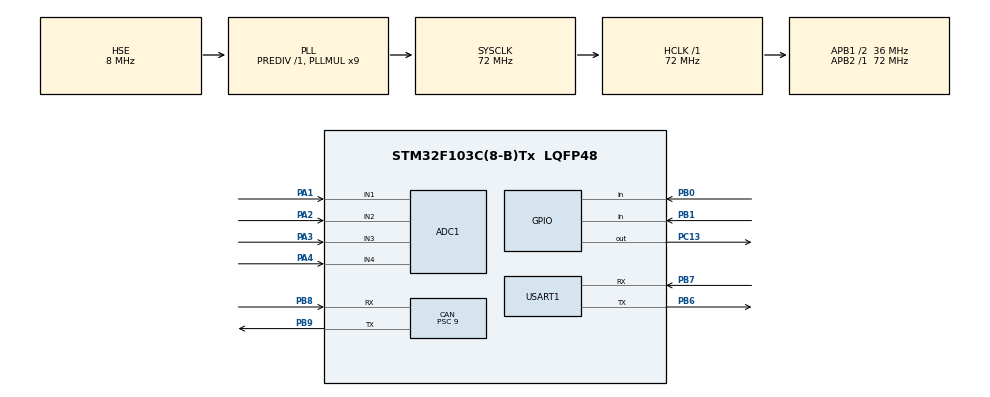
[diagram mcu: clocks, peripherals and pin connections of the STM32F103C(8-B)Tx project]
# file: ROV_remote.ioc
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ADC1.Channel-4\#ChannelRegularConversion=ADC_CHANNEL_1
ADC1.Channel-5\#ChannelRegularConversion=ADC_CHANNEL_2
ADC1.Channel-6\#ChannelRegularConversion=ADC_CHANNEL_3
ADC1.Channel-7\#ChannelRegularConversion=ADC_CHANNEL_4
ADC1.ContinuousConvMode=DISABLE
ADC1.DiscontinuousConvMode=DISABLE
ADC1.EnableRegularConversion=ENABLE
ADC1.InjNumberOfConversion=0
ADC1.NbrOfConversion=4
ADC1.NbrOfConversionFlag=1
ADC1.Rank-4\#ChannelRegularConversion=1
ADC1.Rank-5\#ChannelRegularConversion=2
ADC1.Rank-6\#ChannelRegularConversion=3
ADC1.Rank-7\#ChannelRegularConversion=4
ADC1.SamplingTime-4\#ChannelRegularConversion=ADC_SAMPLETIME_7CYCLES_5
ADC1.SamplingTime-5\#ChannelRegularConversion=ADC_SAMPLETIME_7CYCLES_5
ADC1.SamplingTime-6\#ChannelRegularConversion=ADC_SAMPLETIME_7CYCLES_5
ADC1.SamplingTime-7\#ChannelRegularConversion=ADC_SAMPLETIME_7CYCLES_5
ADC1.master=1
CAN.BS1=CAN_BS1_13TQ
CAN.BS2=CAN_BS2_2TQ
CAN.CalculateTimeBit=4000
CAN.CalculateTimeQuantum=250.0
CAN.Prescaler=9
Dma.ADC1.0.Direction=DMA_PERIPH_TO_MEMORY
Dma.ADC1.0.Instance=DMA1_Channel1
Dma.ADC1.0.MemDataAlignment=DMA_MDATAALIGN_HALFWORD
Dma.ADC1.0.MemInc=DMA_MINC_ENABLE
Dma.ADC1.0.Mode=DMA_CIRCULAR
Dma.ADC1.0.PeriphDataAlignment=DMA_PDATAALIGN_HALFWORD
Dma.ADC1.0.PeriphInc=DMA_PINC_DISABLE
Dma.ADC1.0.Priority=DMA_PRIORITY_MEDIUM
Dma.Request0=ADC1
Mcu.Family=STM32F1
Mcu.Name=STM32F103C(8-B)Tx
Mcu.Package=LQFP48
NVIC.DMA1_Channel1_IRQn=true\:0\:0\:false\:false\:true\:false\:true
NVIC.PriorityGroup=NVIC_PRIORITYGROUP_4
NVIC.USART1_IRQn=true\:0\:0\:false\:false\:true\:true\:true
NVIC.USB_HP_CAN1_TX_IRQn=true\:0\:0\:false\:false\:true\:true\:true
NVIC.USB_LP_CAN1_RX0_IRQn=true\:0\:0\:false\:false\:true\:true\:true
PA1.Signal=ADCx_IN1
PA13.Mode=Serial_Wire
PA13.Signal=SYS_JTMS-SWDIO
PA14.Mode=Serial_Wire
PA14.Signal=SYS_JTCK-SWCLK
PA2.Signal=ADCx_IN2
PA3.Signal=ADCx_IN3
PA4.Signal=ADCx_IN4
PB0.Signal=GPIO_Input
PB1.Signal=GPIO_Input
PB6.Mode=Asynchronous
PB6.Signal=USART1_TX
PB7.Mode=Asynchronous
PB7.Signal=USART1_RX
PB8.Mode=Master
PB8.Signal=CAN_RX
PB9.Mode=Master
PB9.Signal=CAN_TX
PC13-TAMPER-RTC.Signal=GPIO_Output
PC14-OSC32_IN.Mode=LSE-External-Oscillator
PC14-OSC32_IN.Signal=RCC_OSC32_IN
PC15-OSC32_OUT.Mode=LSE-External-Oscillator
PC15-OSC32_OUT.Signal=RCC_OSC32_OUT
PD0-OSC_IN.Mode=HSE-External-Oscillator
PD0-OSC_IN.Signal=RCC_OSC_IN
PD1-OSC_OUT.Mode=HSE-External-Oscillator
PD1-OSC_OUT.Signal=RCC_OSC_OUT
ProjectManager.HeapSize=0x200
ProjectManager.StackSize=0x400
ProjectManager.TargetToolchain=STM32CubeIDE
RCC.ADCPresc=RCC_ADCPCLK2_DIV6
RCC.AHBFreq_Value=72000000
RCC.APB1CLKDivider=RCC_HCLK_DIV2
RCC.APB1Freq_Value=36000000
RCC.APB1TimFreq_Value=72000000
RCC.APB2Freq_Value=72000000
RCC.APB2TimFreq_Value=72000000
RCC.HCLKFreq_Value=72000000
RCC.PLLMUL=RCC_PLL_MUL9
RCC.PLLSourceVirtual=RCC_PLLSOURCE_HSE
RCC.SYSCLKFreq_VALUE=72000000
RCC.SYSCLKSource=RCC_SYSCLKSOURCE_PLLCLK
RCC.USBFreq_Value=72000000
SH.ADCx_IN1.0=ADC1_IN1,IN1
SH.ADCx_IN2.0=ADC1_IN2,IN2
SH.ADCx_IN3.0=ADC1_IN3,IN3
SH.ADCx_IN4.0=ADC1_IN4,IN4
USART1.VirtualMode=VM_ASYNC
board=custom

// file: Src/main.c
/* USER CODE BEGIN Header */
/**
  ******************************************************************************
  * @file           : main.c
  * @brief          : Main program body
  ******************************************************************************
  * @attention
  *
  * <h2><center>&copy; Copyright (c) 2019 STMicroelectronics.
  * All rights reserved.</center></h2>
  *
  * This software component is licensed by ST under BSD 3-Clause license,
  * the "License"; You may not use this file except in compliance with the
  * License. You may obtain a copy of the License at:
  *                        opensource.org/licenses/BSD-3-Clause
  *
  ******************************************************************************
  */
/* USER CODE END Header */

#include "main.h"

/* USER CODE BEGIN Includes */

#define sabitleme_toleransi 50
#define hizBoleni 1
#define INTERVAL 3000

/* USER CODE END Includes */

ADC_HandleTypeDef hadc1;
DMA_HandleTypeDef hdma_adc1;

CAN_HandleTypeDef hcan;

UART_HandleTypeDef huart1;

/* USER CODE BEGIN PV */

typedef struct{

	uint8_t mod;
	uint8_t armco;
	uint16_t desired_angle;
	uint16_t valueJoyStick_X_1;
	uint16_t valueJoyStick_Y_1;
	uint16_t valueJoyStick_X_2;
	uint16_t valueJoyStick_Y_2;

}Master;

Master control = {0};

uint16_t adc_buffer[4];
CAN_FilterTypeDef sFilterConfig;
CAN_TxHeaderTypeDef TxHeader;
CAN_RxHeaderTypeDef RxHeader;
uint8_t TxData[8];//uint8_t TxData[8];
uint8_t RxData[8];//uint8_t RxData[8];
uint32_t TxMailbox;
uint8_t i=0;
char in[8];

uint32_t last_time;
uint16_t batt;

/* USER CODE END PV */

void SystemClock_Config(void);
static void MX_GPIO_Init(void);
static void MX_DMA_Init(void);
static void MX_ADC1_Init(void);
static void MX_CAN_Init(void);
static void MX_USART1_UART_Init(void);

/* USER CODE BEGIN 0 */
long map();
void uartPrintln();
void uartPrint();
int AutoMod();
int ManuelMod();
uint8_t createData(uint16_t bit16data);

/* USER CODE END 0 */

int main(void)
{

  /* MCU Configuration--------------------------------------------------------*/

  /* Reset of all peripherals, Initializes the Flash interface and the Systick. */
  HAL_Init();

  /* Configure the system clock */
  SystemClock_Config();

  /* Initialize all configured peripherals */
  MX_GPIO_Init();
  MX_DMA_Init();
  MX_ADC1_Init();
  MX_CAN_Init();
  MX_USART1_UART_Init();
  /* USER CODE BEGIN 2 */

  //__HAL_UART_ENABLE_IT(&huart1, UART_IT_RXNE);//eklendi

  sFilterConfig.FilterBank = 0;
  sFilterConfig.FilterMode = CAN_FILTERMODE_IDMASK;
  sFilterConfig.FilterScale = CAN_FILTERSCALE_32BIT;
  sFilterConfig.FilterIdHigh = 0x0000;
  sFilterConfig.FilterIdLow = 0x0000;
  sFilterConfig.FilterMaskIdHigh = 0x0000;
  sFilterConfig.FilterMaskIdLow = 0x0000;
  sFilterConfig.FilterFIFOAssignment = CAN_RX_FIFO0;
  sFilterConfig.FilterActivation = ENABLE;
  sFilterConfig.SlaveStartFilterBank = 14;
  if (HAL_CAN_ConfigFilter(&hcan, &sFilterConfig) != HAL_OK)
      {
          /* Filter configuration Error */
          Error_Handler();
      }

  if (HAL_CAN_Start(&hcan) != HAL_OK)
      {
          /* Start Error */
          Error_Handler();
      }

  if (HAL_CAN_ActivateNotification(&hcan, CAN_IT_RX_FIFO0_MSG_PENDING | CAN_IT_TX_MAILBOX_EMPTY) != HAL_OK)
      {
          /* Notification Error */
          Error_Handler();
      }

  TxHeader.StdId = 0x321;
  TxHeader.ExtId = 0x01;
  TxHeader.RTR = CAN_RTR_DATA;
  TxHeader.IDE = CAN_ID_STD;
  TxHeader.DLC = 8;
  TxHeader.TransmitGlobalTime = DISABLE;

  HAL_UART_Receive_IT(&huart1, in, 1);
  /* USER CODE END 2 */

  /* Infinite loop */
  while (1)
  {

    /* USER CODE BEGIN 3 */
	 char tx[64];
	 batt = RxData[0];
	 control.mod = 1;

	 if(HAL_GPIO_ReadPin(GPIOB, GPIO_PIN_1)){
		 AutoMod();
	 }else{
		 ManuelMod();
	 }

	 //AutoMod();

	 HAL_UART_Transmit(&huart1, (uint8_t*)tx, sprintf(tx, "X_1: %d Y_1: %d X_2: %d Y_2: %d angle: %d arm: %d mod: %d\n", control.valueJoyStick_X_1,control.valueJoyStick_Y_1,control.valueJoyStick_X_2,control.valueJoyStick_Y_2,control.desired_angle,control.armco,control.mod), 500);

	 TxData[0] = createData(control.valueJoyStick_X_1);
	 TxData[1] = createData(control.valueJoyStick_Y_1);
	 TxData[2] = createData(control.valueJoyStick_X_2);
	 TxData[3] = createData(control.valueJoyStick_Y_2);
	 TxData[4] = createData(control.desired_angle);
	 TxData[5] = control.armco;
	 TxData[6] = control.mod;

	 HAL_CAN_AddTxMessage(&hcan, &TxHeader, TxData, &TxMailbox);

/*
	 char tx[10];
	 //HAL_UART_Transmit(&huart1, (uint8_t*)tx, sprintf(tx, "Batt: %d\n", RxData[0]), 500);
	 HAL_UART_Transmit(&huart1, (uint8_t*)tx, 8, 500);
	 HAL_UART_Receive(&huart1, (uint8_t*)tx, 8, 1000);
	 //HAL_UART_Transmit(&huart1, (uint8_t*)tx, sprintf(tx, "X_1: %d Y_1: %d X_2: %d Y_2: %d\n", valueJoyStick_X_1,valueJoyStick_Y_1,valueJoyStick_X_2,valueJoyStick_Y_2), 500);
*/

  }
  /* USER CODE END 3 */
}

void SystemClock_Config(void)
{
  RCC_OscInitTypeDef RCC_OscInitStruct = {0};
  RCC_ClkInitTypeDef RCC_ClkInitStruct = {0};
  RCC_PeriphCLKInitTypeDef PeriphClkInit = {0};

  /** Initializes the CPU, AHB and APB busses clocks
  */
  RCC_OscInitStruct.OscillatorType = RCC_OSCILLATORTYPE_HSE;
  RCC_OscInitStruct.HSEState = RCC_HSE_ON;
  RCC_OscInitStruct.HSEPredivValue = RCC_HSE_PREDIV_DIV1;
  RCC_OscInitStruct.HSIState = RCC_HSI_ON;
  RCC_OscInitStruct.PLL.PLLState = RCC_PLL_ON;
  RCC_OscInitStruct.PLL.PLLSource = RCC_PLLSOURCE_HSE;
  RCC_OscInitStruct.PLL.PLLMUL = RCC_PLL_MUL9;
  if (HAL_RCC_OscConfig(&RCC_OscInitStruct) != HAL_OK)
  {
    Error_Handler();
  }
  /** Initializes the CPU, AHB and APB busses clocks
  */
  RCC_ClkInitStruct.ClockType = RCC_CLOCKTYPE_HCLK|RCC_CLOCKTYPE_SYSCLK
                              |RCC_CLOCKTYPE_PCLK1|RCC_CLOCKTYPE_PCLK2;
  RCC_ClkInitStruct.SYSCLKSource = RCC_SYSCLKSOURCE_PLLCLK;
  RCC_ClkInitStruct.AHBCLKDivider = RCC_SYSCLK_DIV1;
  RCC_ClkInitStruct.APB1CLKDivider = RCC_HCLK_DIV2;
  RCC_ClkInitStruct.APB2CLKDivider = RCC_HCLK_DIV1;

  if (HAL_RCC_ClockConfig(&RCC_ClkInitStruct, FLASH_LATENCY_2) != HAL_OK)
  {
    Error_Handler();
  }
  PeriphClkInit.PeriphClockSelection = RCC_PERIPHCLK_ADC;
  PeriphClkInit.AdcClockSelection = RCC_ADCPCLK2_DIV6;
  if (HAL_RCCEx_PeriphCLKConfig(&PeriphClkInit) != HAL_OK)
  {
    Error_Handler();
  }
}

static void MX_ADC1_Init(void)
{

  ADC_ChannelConfTypeDef sConfig = {0};

  /** Common config
  */
  hadc1.Instance = ADC1;
  hadc1.Init.ScanConvMode = ADC_SCAN_ENABLE;
  hadc1.Init.ContinuousConvMode = DISABLE;
  hadc1.Init.DiscontinuousConvMode = DISABLE;
  hadc1.Init.ExternalTrigConv = ADC_SOFTWARE_START;
  hadc1.Init.DataAlign = ADC_DATAALIGN_RIGHT;
  hadc1.Init.NbrOfConversion = 4;
  if (HAL_ADC_Init(&hadc1) != HAL_OK)
  {
    Error_Handler();
  }
  /** Configure Regular Channel
  */
  sConfig.Channel = ADC_CHANNEL_1;
  sConfig.Rank = ADC_REGULAR_RANK_1;
  sConfig.SamplingTime = ADC_SAMPLETIME_7CYCLES_5;
  if (HAL_ADC_ConfigChannel(&hadc1, &sConfig) != HAL_OK)
  {
    Error_Handler();
  }
  /** Configure Regular Channel
  */
  sConfig.Channel = ADC_CHANNEL_2;
  sConfig.Rank = ADC_REGULAR_RANK_2;
  if (HAL_ADC_ConfigChannel(&hadc1, &sConfig) != HAL_OK)
  {
    Error_Handler();
  }
  /** Configure Regular Channel
  */
  sConfig.Channel = ADC_CHANNEL_3;
  sConfig.Rank = ADC_REGULAR_RANK_3;
  if (HAL_ADC_ConfigChannel(&hadc1, &sConfig) != HAL_OK)
  {
    Error_Handler();
  }
  /** Configure Regular Channel
  */
  sConfig.Channel = ADC_CHANNEL_4;
  sConfig.Rank = ADC_REGULAR_RANK_4;
  if (HAL_ADC_ConfigChannel(&hadc1, &sConfig) != HAL_OK)
  {
    Error_Handler();
  }

}

static void MX_CAN_Init(void)
{

  hcan.Instance = CAN1;
  hcan.Init.Prescaler = 9;
  hcan.Init.Mode = CAN_MODE_NORMAL;
  hcan.Init.SyncJumpWidth = CAN_SJW_1TQ;
  hcan.Init.TimeSeg1 = CAN_BS1_13TQ;
  hcan.Init.TimeSeg2 = CAN_BS2_2TQ;
  hcan.Init.TimeTriggeredMode = DISABLE;
  hcan.Init.AutoBusOff = DISABLE;
  hcan.Init.AutoWakeUp = DISABLE;
  hcan.Init.AutoRetransmission = DISABLE;
  hcan.Init.ReceiveFifoLocked = DISABLE;
  hcan.Init.TransmitFifoPriority = DISABLE;
  if (HAL_CAN_Init(&hcan) != HAL_OK)
  {
    Error_Handler();
  }

}

static void MX_USART1_UART_Init(void)
{

  huart1.Instance = USART1;
  huart1.Init.BaudRate = 115200;
  huart1.Init.WordLength = UART_WORDLENGTH_8B;
  huart1.Init.StopBits = UART_STOPBITS_1;
  huart1.Init.Parity = UART_PARITY_NONE;
  huart1.Init.Mode = UART_MODE_TX_RX;
  huart1.Init.HwFlowCtl = UART_HWCONTROL_NONE;
  huart1.Init.OverSampling = UART_OVERSAMPLING_16;
  if (HAL_UART_Init(&huart1) != HAL_OK)
  {
    Error_Handler();
  }

}

static void MX_DMA_Init(void)
{

  /* DMA controller clock enable */
  __HAL_RCC_DMA1_CLK_ENABLE();

  /* DMA interrupt init */
  /* DMA1_Channel1_IRQn interrupt configuration */
  HAL_NVIC_SetPriority(DMA1_Channel1_IRQn, 0, 0);
  HAL_NVIC_EnableIRQ(DMA1_Channel1_IRQn);

}

static void MX_GPIO_Init(void)
{
  GPIO_InitTypeDef GPIO_InitStruct = {0};

  /* GPIO Ports Clock Enable */
  __HAL_RCC_GPIOC_CLK_ENABLE();
  __HAL_RCC_GPIOD_CLK_ENABLE();
  __HAL_RCC_GPIOA_CLK_ENABLE();
  __HAL_RCC_GPIOB_CLK_ENABLE();

  /*Configure GPIO pin Output Level */
  HAL_GPIO_WritePin(GPIOC, GPIO_PIN_13, GPIO_PIN_RESET);

  /*Configure GPIO pin : PC13 */
  GPIO_InitStruct.Pin = GPIO_PIN_13;
  GPIO_InitStruct.Mode = GPIO_MODE_OUTPUT_PP;
  GPIO_InitStruct.Pull = GPIO_NOPULL;
  GPIO_InitStruct.Speed = GPIO_SPEED_FREQ_LOW;
  HAL_GPIO_Init(GPIOC, &GPIO_InitStruct);

  /*Configure GPIO pins : PB0 PB1 */
  GPIO_InitStruct.Pin = GPIO_PIN_0|GPIO_PIN_1;
  GPIO_InitStruct.Mode = GPIO_MODE_INPUT;
  GPIO_InitStruct.Pull = GPIO_NOPULL;
  HAL_GPIO_Init(GPIOB, &GPIO_InitStruct);

}

/* USER CODE BEGIN 4 */

void HAL_CAN_TxMailbox0CompleteCallback(CAN_HandleTypeDef *hcan)
{
	 if(HAL_GetTick() - last_time > INTERVAL)
	   {
		  HAL_GPIO_TogglePin(GPIOC, GPIO_PIN_13);
	      last_time = HAL_GetTick();
	   }
}

void HAL_CAN_RxFifo0MsgPendingCallback(CAN_HandleTypeDef *hcan)
{
    HAL_CAN_GetRxMessage(hcan, CAN_RX_FIFO0, &RxHeader, RxData);
    if(HAL_GetTick() - last_time > INTERVAL)
    	   {
    		  HAL_GPIO_TogglePin(GPIOC, GPIO_PIN_13);
    	      last_time = HAL_GetTick();
    	   }
}

long map(long x, long in_min, long in_max, long out_min, long out_max){
  return (x - in_min) * (out_max - out_min) / (in_max - in_min) + out_min;
}

void uartPrint(UART_HandleTypeDef *huart, char _out[]){
 HAL_UART_Transmit(huart, (uint8_t *) _out, strlen(_out), 10);
}

void uartPrintln(UART_HandleTypeDef *huart, char _out[]){
 HAL_UART_Transmit(huart, (uint8_t *) _out, strlen(_out), 10);
 char newline[2] = "\r\n";
 HAL_UART_Transmit(huart, (uint8_t *) newline, 2, 10);
}

int AutoMod(){

	control.valueJoyStick_X_1=1500;
    control.valueJoyStick_X_2=1500;
    control.valueJoyStick_Y_1=1500;
    control.valueJoyStick_Y_2=1500;
    control.desired_angle = 0;

	//HAL_UART_Receive(&huart1, (uint8_t *)in, 8, 10);
	//HAL_UART_Receive_IT(&huart1, in, 5);//eklendi
/*

	if(strcmp(in,"a")==0){
		control.valueJoyStick_X_1 = 1550;//sag
	}else if(strcmp(in,"b")==0){
		control.valueJoyStick_X_1 = 1450;//sol
	}else if(strcmp(in,"c")==0){
		control.valueJoyStick_Y_1 = 1700;//yukarı
	}else if(strcmp(in,"d")==0){
		control.valueJoyStick_Y_1 = 1300;//asagı
	}else if(strcmp(in,"s")==0){
		control.valueJoyStick_Y_2 = 1510;//ileri
	}else if(strcmp(in,"e")==0){
		control.valueJoyStick_Y_2 = 1500;//dur
	}else if(strcmp(in,"x")==0){
		i++;
		control.desired_angle = 1*i;//90 derece don//aci
		HAL_Delay(500);
	}else{
		 if(HAL_GetTick() - last_time > 3000)
		    {
			control.valueJoyStick_X_1=1500;
			control.valueJoyStick_X_2=1500;
			control.valueJoyStick_Y_1=1500;
			control.valueJoyStick_Y_2=1500;
			last_time = HAL_GetTick();

         	}

	}
	memset( in, 0, 8 );

	/*
	if(in[0] == 255){
		if(in[1] == 1){
			if(in[2] == 1){
			control.valueJoyStick_X_1 = 1600;//sag
			}else if(in[2] == 2){
			control.valueJoyStick_X_1 = 1400;//sol
			}else if(in[2] == 0){
			control.valueJoyStick_Y_2 = 1600;//ileri
			}
		}if(in[1] == 2){
			if(in[2] == 1){
			control.valueJoyStick_Y_1 = 1600;//yukarı
			}else if(in[2] == 2){
			control.valueJoyStick_Y_1 = 1400;//asagı
			}else if(in[2] == 0){
			control.valueJoyStick_Y_2 = 1600;//ileri
			}
		}if(in[1] == 3){
			if(in[2] == 1){
			i++;
			control.desired_angle = 1*i;//90 derece don
			}
		}if(in[1] == 4){
			if(in[2]==1){
			control.valueJoyStick_Y_2 = 1600;//ileri
			}else if(in[2]==2){
			control.valueJoyStick_Y_2 = 1500;//dur
			}
        }

	} */

	return 1;
}

int ManuelMod(){

	HAL_ADC_Start_DMA(&hadc1, (uint32_t*)adc_buffer, 4);

	control.valueJoyStick_X_1 = map(adc_buffer[0],580,3460,1050,1900);//sag x ekseni
    control.valueJoyStick_Y_1 = map(adc_buffer[1],250,3400,1050,1900);//sag y ekseni
	control.valueJoyStick_X_2 = map(adc_buffer[3],400,3515,1050,1900);//sol y ekseni
	control.valueJoyStick_Y_2 = map(adc_buffer[2],340,3650,1050,1900);//sol x ekseni
	control.desired_angle = 0; //son kod atıldı

	control.valueJoyStick_X_1 = 1500 + (control.valueJoyStick_X_1 - 1500)/hizBoleni;
	control.valueJoyStick_Y_1 = 1500 + (control.valueJoyStick_Y_1 - 1500)/hizBoleni;
	control.valueJoyStick_X_2 = 1500 + (control.valueJoyStick_X_2 - 1500)/hizBoleni;
    control.valueJoyStick_Y_2 = 1500 + (control.valueJoyStick_Y_2 - 1500)/hizBoleni;

    if (control.valueJoyStick_X_1 < 1500 + sabitleme_toleransi / hizBoleni && control.valueJoyStick_X_1 > 1500 - sabitleme_toleransi / hizBoleni)
		control.valueJoyStick_X_1 = 1500;
	if (control.valueJoyStick_Y_1 < 1500 + sabitleme_toleransi / hizBoleni && control.valueJoyStick_Y_1 > 1500 - sabitleme_toleransi / hizBoleni)
		control.valueJoyStick_Y_1 = 1500;
	if (control.valueJoyStick_X_2 < 1500 + sabitleme_toleransi / hizBoleni && control.valueJoyStick_X_2 > 1500 - sabitleme_toleransi / hizBoleni)
		control.valueJoyStick_X_2 = 1500;
    if (control.valueJoyStick_Y_2 < 1500 + sabitleme_toleransi / hizBoleni && control.valueJoyStick_Y_2 > 1500 - sabitleme_toleransi / hizBoleni)
		control.valueJoyStick_Y_2 = 1500;

    if(HAL_GPIO_ReadPin(GPIOB, GPIO_PIN_0))
		control.armco = 1;
    else
		control.armco = 0;
	return 1;
}

uint8_t createData(uint16_t bit16data)
{
	return (bit16data - 1000)/4;
}
/*
void USART1_IRQHandler(void)//eklendi
{
  HAL_UART_IRQHandler(&huart1);

  HAL_UART_Receive_IT(&huart1, in, 1);
}*/
/* USER CODE END 4 */

void Error_Handler(void)
{
}

/************************ (C) COPYRIGHT STMicroelectronics *****END OF FILE****/
